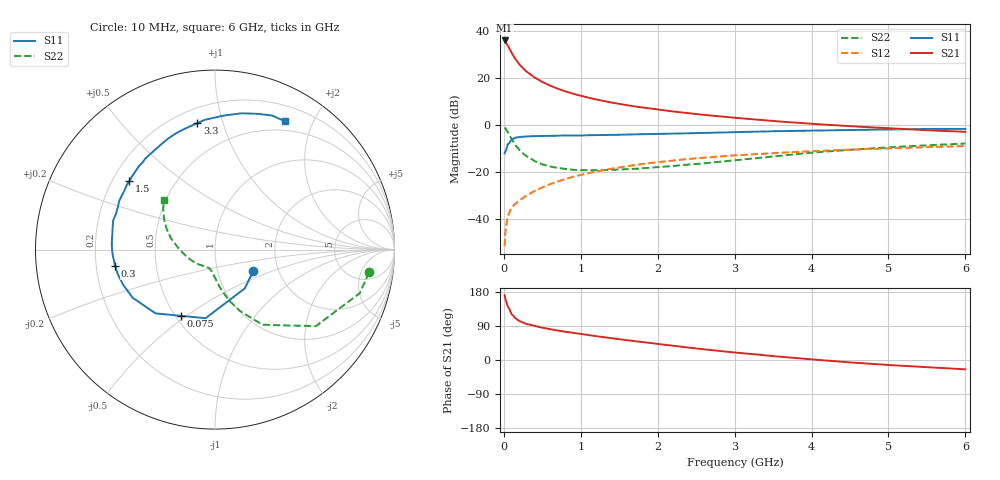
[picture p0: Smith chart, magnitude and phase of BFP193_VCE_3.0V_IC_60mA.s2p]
! Infineon Technologies  Discrete & RF Semiconductors
! BFP193
! VCE = 3.0 V,  IC =  60 mA
! Common Emitter S-Parameters:  Jan 2016
# GHz  S  MA  R  50
!  f  S11  S21  S12  S22
! GHz  MAG  ANG  MAG  ANG  MAG  ANG  MAG  ANG
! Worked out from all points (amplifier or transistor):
!   210 points, 10 MHz to 6 GHz, reference 50 ohm
!   highest |S21| = 35.9 dB at 10 MHz (marker M1)
!   |S21| within 3 dB of that: start of sweep to 65.06 MHz
!   unconditionally stable (mu >= 1): 452.5 MHz to 3.979 GHz
!   at 185 MHz: K = 0.75, MSG = 29.6 dB, |S12| = -32.7 dB
!   at 1.52 GHz: K = 1.08, MAG = 11.7 dB, |S12| = -18.1 dB
!   at 6 GHz: K = 0.95, MSG = 3.0 dB, |S12| = -9.1 dB
!   S11 on the Smith chart (normalised r, x): 10 MHz: 1.49, -0.38; 75 MHz: 0.53, -0.47; 300 MHz: 0.28, -0.08; 1.5 GHz: 0.27, +0.33; 3.3 GHz: 0.29, +0.83; 6 GHz: 0.38, +1.62
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0.01  0.2446 -29.1  62.16 171.1  0.0026 78.2  0.8671 -8.4
0.02  0.2726 -52.6  59.4 161.6  0.0051 75.3  0.8426 -16.7
0.05  0.3858 -97.8  49.03 141.4  0.0108 65.7  0.7056 -37.2
0.075  0.4157 -117.5  40.88 133.2  0.0139 60.5  0.5914 -45.6
0.1  0.4858 -133.0  33.97 121.2  0.0171 57.3  0.4957 -57.7
0.15  0.5313 -149.6  24.87 110.0  0.0208 57.1  0.3683 -68.0
0.2  0.5473 -158.7  19.42 103.1  0.0243 57.9  0.2932 -74.7
0.26  0.5591 -166.4  15.25 97.8  0.0283 60.2  0.2361 -79.9
0.3  0.5637 -170.5  13.29 94.9  0.0312 61.4  0.2114 -82.8
0.4  0.5722 -177.9  10.11 89.7  0.0389 63.5  0.1681 -88.0
0.5  0.5763 176.7  8.11 85.2  0.0461 65.1  0.1432 -92.4
0.6  0.5783 172.0  6.795 81.3  0.0544 65.7  0.1293 -96.3
0.8  0.5902 164.1  5.123 74.5  0.0697 65.2  0.1144 -102.9
1.02  0.5919 155.7  4.046 68.0  0.0868 64.0  0.108 -109.5
1.3  0.6019 147.1  3.184 60.1  0.1088 61.3  0.1076 -118.1
1.5  0.6104 141.3  2.791 55.0  0.1234 59.1  0.1116 -124.0
2.02  0.6391 127.0  2.078 41.9  0.161 52.5  0.1259 -141.0
3.1  0.6997 101.8  1.363 18.0  0.2274 38.1  0.1814 -174.8
3.3  0.7112 98.0  1.277 14.3  0.2379 35.6  0.1955 -180.0
4.1  0.7535 84.5  1.023 -0.0  0.2776 25.9  0.2618 163.4
5.1  0.7961 71.4  0.825 -14.3  0.3177 14.6  0.3365 147.8
6  0.8142 61.5  0.707 -24.6  0.3514 4.9  0.3977 136.0
